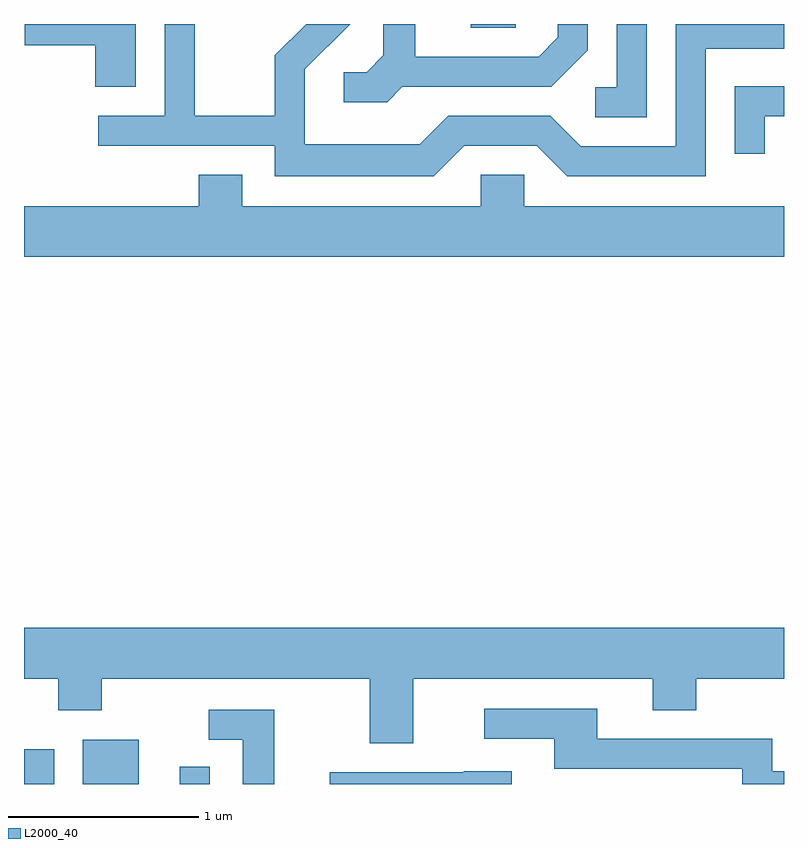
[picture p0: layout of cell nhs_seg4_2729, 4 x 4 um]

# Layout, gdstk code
import gdstk
lib = gdstk.Library(unit=1e-6, precision=1e-09)
def R(c, l, rs):  # rectangles x0, y0, x1, y1
    for r in rs: c.add(gdstk.rectangle(r[:2], r[2:], *l))
def P(c, l, *ps):  # polygons
    for p in ps: c.add(gdstk.Polygon(p, *l))
L2000_40 = (2000, 40)

nhs_seg4_2729 = lib.new_cell('nhs_seg4_2729')
R(nhs_seg4_2729, L2000_40, [(265.611,1271.982,265.769,1272.164), (265.921,1271.982,266.214,1272.214), (266.431,1271.982,266.589,1272.073), (267.961,1275.961,268.199,1275.982)])
P(nhs_seg4_2729, L2000_40, [(267.602,1275.651),(268.387,1275.651),(268.579,1275.844),(268.579,1275.982),(268.421,1275.982),(268.421,1275.912),(268.319,1275.809),(267.669,1275.809),(267.669,1275.982),(267.501,1275.982),(267.501,1275.817),(267.414,1275.729),(267.293,1275.729),(267.293,1275.571),(267.522,1275.571)],
  [(268.889,1275.982),(268.731,1275.982),(268.731,1275.649),(268.618,1275.649),(268.618,1275.491),(268.889,1275.491)],
  [(266.199,1275.982),(265.616,1275.982),(265.616,1275.871),(265.986,1275.871),(265.986,1275.651),(266.199,1275.651)],
  [(267.927,1275.341),(268.309,1275.341),(268.469,1275.181),(269.199,1275.181),(269.199,1275.851),(269.611,1275.851),(269.611,1275.982),(269.041,1275.982),(269.041,1275.339),(268.542,1275.339),(268.382,1275.499),(267.844,1275.499),(267.694,1275.349),(267.089,1275.349),(267.089,1275.744),(267.327,1275.982),(267.096,1275.982),(266.931,1275.817),(266.931,1275.499),(266.509,1275.499),(266.509,1275.982),(266.351,1275.982),(266.351,1275.499),(266.003,1275.499),(266.003,1275.341),(266.931,1275.341),(266.931,1275.181),(267.767,1275.181)],
  [(269.509,1275.496),(269.611,1275.496),(269.611,1275.654),(269.351,1275.654),(269.351,1275.298),(269.509,1275.298)],
  [(269.611,1275.024),(268.244,1275.024),(268.244,1275.189),(268.016,1275.189),(268.016,1275.024),(266.759,1275.024),(266.759,1275.189),(266.531,1275.189),(266.531,1275.024),(265.611,1275.024),(265.611,1274.756),(269.611,1274.756)],
  [(267.659,1272.536),(268.921,1272.536),(268.921,1272.371),(269.149,1272.371),(269.149,1272.536),(269.611,1272.536),(269.611,1272.804),(265.611,1272.804),(265.611,1272.536),(265.791,1272.536),(265.791,1272.371),(266.019,1272.371),(266.019,1272.536),(267.431,1272.536),(267.431,1272.196),(267.659,1272.196)],
  [(269.611,1272.049),(269.549,1272.049),(269.549,1272.219),(268.629,1272.219),(268.629,1272.379),(268.033,1272.379),(268.033,1272.221),(268.401,1272.221),(268.401,1272.061),(269.391,1272.061),(269.391,1271.982),(269.611,1271.982)],
  [(266.929,1272.374),(266.583,1272.374),(266.583,1272.216),(266.761,1272.216),(266.761,1271.982),(266.929,1271.982)],
  [(268.179,1272.049),(267.925,1272.049),(267.925,1272.044),(267.221,1272.044),(267.221,1271.982),(268.179,1271.982)])

lib.write_gds('nhs_seg4_2729.gds')
